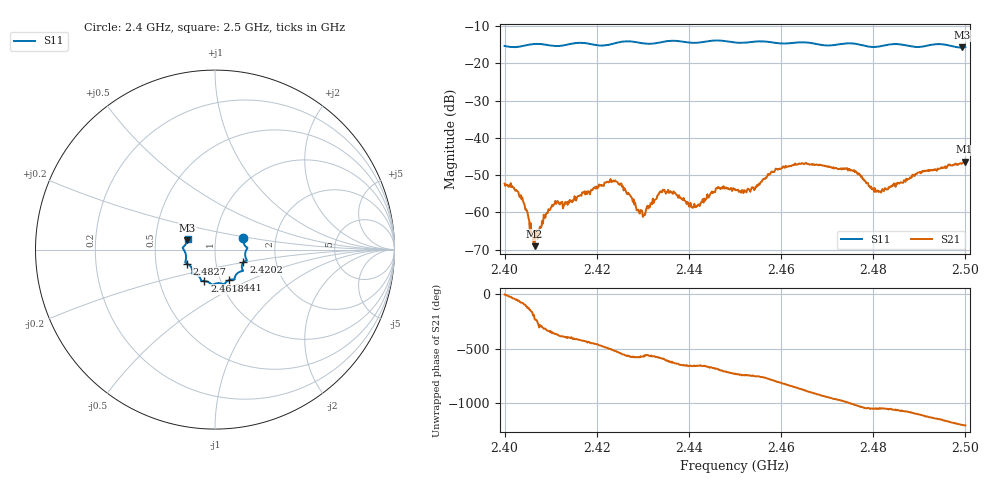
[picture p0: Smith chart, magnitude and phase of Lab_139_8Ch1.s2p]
# Hz S RI R 50
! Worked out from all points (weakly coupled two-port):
!   601 points, 2.4 GHz to 2.5 GHz, reference 50 ohm
!   highest |S21| = -46.41 dB at 2.4998 GHz (marker M1); lowest = -69.0 dB at 2.4065 GHz (marker M2)
!   lowest |S11| = -15.8 dB at 2.4993 GHz (marker M3), VSWR 1.39, Z = 36.5 + j3.85 ohm
!   |S11| at or under -10 dB: start of sweep to end of sweep
!   S12 and S22 are empty: the file has one direction only
!   S11 on the Smith chart (normalised r, x): 2.4 GHz: 1.36, +0.18; 2.4202 GHz: 1.36, -0.20; 2.441 GHz: 1.10, -0.39; 2.4618 GHz: 0.84, -0.30; 2.4827 GHz: 0.72, -0.12; 2.5 GHz: 0.73, +0.09
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2.4e9  0.1582 0.0625  0.00243 -7.83e-05  0 0  0 0
2.403333e9  0.1651 0.0251  0.000534 -0.00152  0 0  0 0
2.4065e9  0.1805 0.0103  -0.00025 0.000251  0 0  0 0
2.4105e9  0.1705 -0.011  0.00122 5.09e-05  0 0  0 0
2.416667e9  0.1773 -0.0606  0.000718 -0.00151  0 0  0 0
2.420167e9  0.1583 -0.0711  -0.000373 -0.00208  0 0  0 0
2.424833e9  0.154 -0.1126  -0.00238 -0.000218  0 0  0 0
2.43e9  0.1363 -0.1245  -0.000747 0.000456  0 0  0 0
2.433333e9  0.1116 -0.151  -0.00129 0.00113  0 0  0 0
2.4365e9  0.1089 -0.1672  -4.07e-05 0.00178  0 0  0 0
2.441e9  0.0786 -0.1699  0.000568 0.00104  0 0  0 0
2.446333e9  0.0493 -0.1954  0.00191 0.00108  0 0  0 0
2.45e9  0.0283 -0.1872  0.00205 -0.000278  0 0  0 0
2.461833e9  -0.0593 -0.1753  -0.00203 -0.00363  0 0  0 0
2.466667e9  -0.0784 -0.1682  -0.00446 0.000199  0 0  0 0
2.475333e9  -0.1274 -0.133  0.00118 0.00348  0 0  0 0
2.480167e9  -0.136 -0.0931  0.0017 0.000844  0 0  0 0
2.482667e9  -0.156 -0.0775  0.00184 0.00102  0 0  0 0
2.483333e9  -0.1604 -0.0754  0.00201 0.000811  0 0  0 0
2.499333e9  -0.1539 0.0514  -0.00234 -0.00395  0 0  0 0
2.499833e9  -0.1526 0.0585  -0.00277 -0.00389  0 0  0 0
2.5e9  -0.1521 0.0609  -0.00269 -0.00379  0 0  0 0
